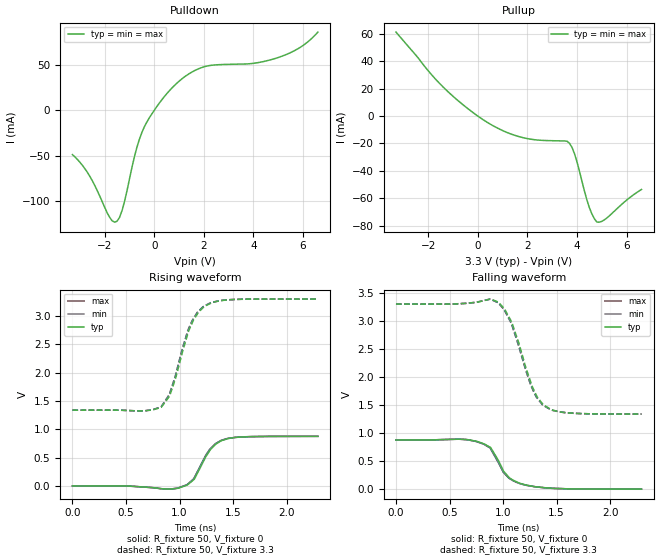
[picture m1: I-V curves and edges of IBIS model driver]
| IBIS file ex2_skewp_tr20ps.ibs created by PYS2IBIS3
| Missouri S&T EMC Lab
[IBIS Ver] 7.1
[File Name] ex2_skewp_tr20ps.ibs
[File Rev] 1.0
[Date] July 28, 2026
[Source] ex2 variant 'skewp' -- output PMOS at half width
[Notes] Parameter selection; sim_time=2.292e-09, tr=tf=2.000e-11.
[Disclaimer] Experimental characterization for pybis observability study.
[Component] MCM Driver 1
[Manufacturer] MegaFLOPS Inc.
[Package]
| variable   typ   min   max
R_pkg 0 NA NA
L_pkg 0H NA NA
C_pkg 0F NA NA
[Pin]  signal_name   model_name   R_pin   L_pin   C_pin
vdd   vdd   POWER
gnd   gnd   GND
| in in dummy
out   out   driver
| End of Component
| Models and submodels in the file (1): driver (Output)
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[Model] driver
Model_type Output
Polarity Non-Inverting
Enable Active-Low
Vinl  = 0.8V
Vinh  = 2V
C_comp 5.0000pF 5.0000pF 5.0000pF
[Temperature Range] 27.0000 27.0000 27.0000
[Voltage Range] 3.3000V 3.3000V 3.3000V
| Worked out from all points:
|   slope of the pulldown table from 0 to 0.495 V, typ, clamps not added: 27.4 ohm
|   slope of the pullup table from 0 to 0.495 V, typ, clamps not added: 85.1 ohm
|   rising waveform, R_fixture 50, V_fixture 0: 20-80 % time 165ps typ, 165ps min, 165ps max; typ from 0 V to 0.876 V
|   rising waveform, R_fixture 50, V_fixture 3.3: 20-80 % time 191ps typ, 190ps min, 190ps max; typ from 1.34 V to 3.3 V
|   falling waveform, R_fixture 50, V_fixture 0: 20-80 % time 184ps typ, 183ps min, 183ps max; typ from 0.876 V to 0 V
|   falling waveform, R_fixture 50, V_fixture 3.3: 20-80 % time 203ps typ, 202ps min, 202ps max; typ from 3.3 V to 1.34 V
[Pulldown]
| Voltage   I(typ)   I(min)   I(max)
-3.3V     -48.93mA   -48.93mA   -48.93mA
-2.6V     -72.86mA   -72.86mA   -72.86mA
-1.8V     -118.2mA   -118.2mA   -118.2mA
-1.5V     -122.5mA   -122.5mA   -122.5mA
-1.3V     -110.9mA   -110.9mA   -110.9mA
-800mV    -51.3mA    -51.3mA    -51.3mA
-500mV    -24.59mA   -24.59mA   -24.59mA
100mV     4.004mA    4.004mA    4.004mA
900mV     29.68mA    29.68mA    29.68mA
2.1V      48.76mA    48.76mA    48.76mA
5.1V      59.31mA    59.31mA    59.31mA
6.6V      86.45mA    86.45mA    86.45mA
[Pullup]
| Voltage   I(typ)   I(min)   I(max)
-3.3V     61.37mA    61.37mA    61.37mA
-1.4V     21.26mA    21.26mA    21.26mA
-600mV    8.306mA    8.306mA    8.306mA
300mV     -3.662mA   -3.662mA   -3.662mA
1.7V      -15.2mA    -15.2mA    -15.2mA
3.6V      -18.41mA   -18.41mA   -18.41mA
3.7V      -19.94mA   -19.94mA   -19.94mA
3.9V      -27.54mA   -27.54mA   -27.54mA
4.5V      -66.93mA   -66.93mA   -66.93mA
4.8V      -77.41mA   -77.41mA   -77.41mA
5.1V      -75.86mA   -75.86mA   -75.86mA
6.6V      -53.64mA   -53.64mA   -53.64mA
[Ramp]
| variable   typ   min   max
dV/dt_r 0.5258/0.1653n 0.5258/0.1649n 0.5258/0.1649n
dV/dt_f 1.1766/0.2031n 1.1766/0.2021n 1.1766/0.2021n
R_load = 50
[Rising Waveform]
R_fixture = 50
V_fixture = 0
|time   V(typ)   V(min)   V(max)
0s        3.917nV    3.917nV    3.917nV
984.4ps   -42.3mV    -37.22mV   -37.22mV
1.069ns   12.57mV    20.76mV    20.76mV
1.136ns   113.2mV    137.9mV    137.9mV
1.237ns   486.3mV    516.5mV    516.5mV
1.28ns    619.4mV    642.5mV    642.5mV
1.335ns   734.5mV    745.8mV    745.8mV
1.386ns   794.8mV    802.4mV    802.4mV
1.631ns   869.2mV    869.7mV    869.7mV
2.292ns   876.3mV    876.3mV    876.3mV
[Rising Waveform]
R_fixture = 50
V_fixture = 3.3
|time   V(typ)   V(min)   V(max)
0s        1.338V     1.338V     1.338V
667.7ps   1.326V     1.326V     1.326V
828.3ps   1.387V     1.397V     1.397V
906.3ps   1.584V     1.623V     1.623V
963.7ps   1.9V       1.961V     1.961V
1.076ns   2.679V     2.736V     2.736V
1.115ns   2.869V     2.907V     2.907V
1.173ns   3.059V     3.076V     3.076V
1.292ns   3.227V     3.236V     3.236V
2.292ns   3.3V       3.3V       3.3V
[Falling Waveform]
R_fixture = 50
V_fixture = 0
|time   V(typ)   V(min)   V(max)
0s        876.4mV    876.4mV    876.4mV
656.2ps   885.2mV    884.9mV    884.9mV
819.2ps   811mV      803.2mV    803.2mV
883.4ps   743.7mV    720.3mV    720.3mV
952.2ps   526.9mV    489.7mV    489.7mV
1ns       334.6mV    306.4mV    306.4mV
1.049ns   224mV      205.9mV    205.9mV
1.2ns     80.28mV    75.49mV    75.49mV
1.505ns   11.93mV    11.26mV    11.26mV
2.292ns   81.94uV    78.58uV    78.58uV
[Falling Waveform]
R_fixture = 50
V_fixture = 3.3
|time   V(typ)   V(min)   V(max)
0s        3.3V       3.3V       3.3V
580.5ps   3.304V     3.304V     3.304V
878.8ps   3.387V     3.389V     3.389V
952.2ps   3.338V     3.325V     3.325V
1.078ns   2.99V      2.95V      2.95V
1.26ns    1.899V     1.849V     1.849V
1.317ns   1.648V     1.626V     1.626V
1.37ns    1.518V     1.5V       1.5V
1.59ns    1.363V     1.362V     1.362V
2.292ns   1.339V     1.339V     1.339V
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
